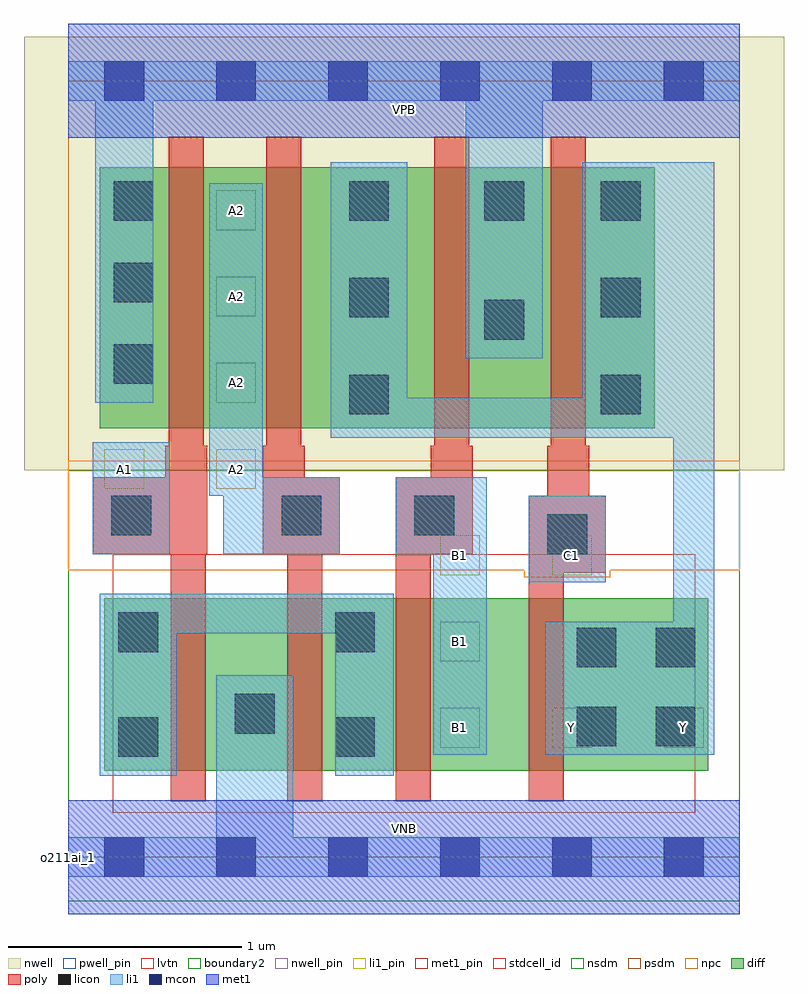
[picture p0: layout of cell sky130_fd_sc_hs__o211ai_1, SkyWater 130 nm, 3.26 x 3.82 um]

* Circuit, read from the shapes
.subckt sky130_fd_sc_hs__o211ai_1 A1 A2 B1 C1 VGND VNB VPB VPWR Y
XM1 VGND A1 n1 VNB sky130_fd_pr__nfet_01v8_lvt w=0.74 l=0.15
XM2 n1 A2 VGND VNB sky130_fd_pr__nfet_01v8_lvt w=0.74 l=0.15
XM3 n2 B1 n1 VNB sky130_fd_pr__nfet_01v8_lvt w=0.74 l=0.15
XM4 Y C1 n2 VNB sky130_fd_pr__nfet_01v8_lvt w=0.74 l=0.15
XM5 n3 A1 VPWR VPB sky130_fd_pr__pfet_01v8 w=1.12 l=0.15
XM6 Y A2 n3 VPB sky130_fd_pr__pfet_01v8 w=1.12 l=0.15
XM7 VPWR B1 Y VPB sky130_fd_pr__pfet_01v8 w=1.12 l=0.15
XM8 Y C1 VPWR VPB sky130_fd_pr__pfet_01v8 w=1.12 l=0.15
.ends

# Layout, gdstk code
import gdstk
lib = gdstk.Library(unit=1e-6, precision=1e-09)
def R(c, l, rs):  # rectangles x0, y0, x1, y1
    for r in rs: c.add(gdstk.rectangle(r[:2], r[2:], *l))
def A(c, l, x, y, w, h, nx, ny, dx, dy):  # array of equal rectangles
    R(c, l, [(x+i*dx, y+j*dy, x+i*dx+w, y+j*dy+h) for i in range(nx) for j in range(ny)])
def P(c, l, *ps):  # polygons
    for p in ps: c.add(gdstk.Polygon(p, *l))
nwell_pin = (64, 16)
nwell = (64, 20)
diff = (65, 20)
poly = (66, 20)
licon = (66, 44)
li1_pin = (67, 16)
li1 = (67, 20)
mcon = (67, 44)
met1_pin = (68, 16)
met1 = (68, 20)
stdcell_id = (81, 4)
nsdm = (93, 44)
psdm = (94, 20)
npc = (95, 20)
pwell_pin = (122, 16)
lvtn = (125, 44)
boundary2 = (236, 0)

sky130_fd_sc_hs__o211ai_ = lib.new_cell('sky130_fd_sc_hs__o211ai_1')
R(sky130_fd_sc_hs__o211ai_, nwell_pin, [(0,3.085,2.88,3.33)])
R(sky130_fd_sc_hs__o211ai_, nwell, [(-0.19,1.66,3.07,3.52)])
R(sky130_fd_sc_hs__o211ai_, diff, [(0.155,0.37,2.745,1.11), (0.135,1.84,2.515,2.96)])
P(sky130_fd_sc_hs__o211ai_, poly, [(2.305,1.55),(2.235,1.55),(2.235,1.765),(2.22,1.765),(2.22,3.09),(2.07,3.09),(2.07,1.765),(2.055,1.765),(2.055,1.55),(1.975,1.55),(1.975,0.24),(2.125,0.24),(2.125,1.22),(2.305,1.22)],
  [(1.735,1.765),(1.72,1.765),(1.72,3.09),(1.57,3.09),(1.57,1.765),(1.555,1.765),(1.555,1.63),(1.405,1.63),(1.405,0.24),(1.555,0.24),(1.555,1.3),(1.735,1.3)],
  [(1.165,1.63),(1.015,1.63),(1.015,1.765),(1,1.765),(1,3.09),(0.85,3.09),(0.85,1.765),(0.835,1.765),(0.835,1.3),(0.94,1.3),(0.94,0.24),(1.09,0.24),(1.09,1.3),(1.165,1.3)],
  [(0.595,1.765),(0.58,1.765),(0.58,3.09),(0.43,3.09),(0.43,1.765),(0.415,1.765),(0.415,1.63),(0.105,1.63),(0.105,1.3),(0.44,1.3),(0.44,0.24),(0.59,0.24),(0.59,1.3),(0.595,1.3)])
A(sky130_fd_sc_hs__o211ai_, licon, 1.205, 1.9, 0.17, 0.17, 1, 3, 0, 0.415)
A(sky130_fd_sc_hs__o211ai_, licon, 2.285, 1.9, 0.17, 0.17, 1, 3, 0, 0.415)
A(sky130_fd_sc_hs__o211ai_, licon, 0.195, 2.03, 0.17, 0.17, 1, 3, 0, 0.35)
R(sky130_fd_sc_hs__o211ai_, licon, [(0.215,0.43,0.385,0.6), (1.145,0.43,1.315,0.6), (2.18,0.475,2.35,0.645), (2.52,0.475,2.69,0.645), (0.715,0.53,0.885,0.7), (2.18,0.815,2.35,0.985), (2.52,0.815,2.69,0.985), (0.215,0.88,0.385,1.05), (1.145,0.88,1.315,1.05), (2.055,1.3,2.225,1.47), (0.185,1.38,0.355,1.55), (0.915,1.38,1.085,1.55), (1.485,1.38,1.655,1.55), (1.785,2.22,1.955,2.39), (1.785,2.73,1.955,2.9)])
A(sky130_fd_sc_hs__o211ai_, li1_pin, 1.595, 0.47, 0.17, 0.17, 3, 1, 0.48, 0)
A(sky130_fd_sc_hs__o211ai_, li1_pin, 0.635, 1.58, 0.17, 0.17, 1, 4, 0, 0.37)
R(sky130_fd_sc_hs__o211ai_, li1_pin, [(1.595,0.84,1.765,1.01), (1.595,1.21,1.765,1.38), (2.075,1.21,2.245,1.38), (0.155,1.58,0.325,1.75)])
R(sky130_fd_sc_hs__o211ai_, li1, [(1.975,1.18,2.305,1.55), (0.105,1.3,0.435,1.78)])
P(sky130_fd_sc_hs__o211ai_, li1, [(0,-0.085),(0,0.085),(0.635,0.085),(0.635,0.78),(0.965,0.78),(0.965,0.085),(2.88,0.085),(2.88,-0.085)],
  [(0,3.245),(0,3.415),(2.88,3.415),(2.88,3.245),(2.035,3.245),(2.035,2.14),(1.705,2.14),(1.705,3.245),(0.365,3.245),(0.365,1.95),(0.115,1.95),(0.115,3.245)],
  [(1.405,1.3),(1.405,1.63),(1.795,1.63),(1.795,0.44),(1.565,0.44),(1.565,1.3)],
  [(2.045,0.44),(2.045,1.01),(2.595,1.01),(2.595,1.8),(1.125,1.8),(1.125,2.98),(1.455,2.98),(1.455,1.97),(2.205,1.97),(2.205,2.98),(2.77,2.98),(2.77,0.44)],
  [(0.665,1.3),(0.665,1.55),(0.605,1.55),(0.605,2.89),(0.835,2.89),(0.835,1.63),(1.165,1.63),(1.165,1.3)],
  [(0.135,0.35),(0.135,1.13),(1.395,1.13),(1.395,0.35),(1.145,0.35),(1.145,0.96),(0.465,0.96),(0.465,0.35)])
A(sky130_fd_sc_hs__o211ai_, mcon, 0.155, -0.085, 0.17, 0.17, 6, 2, 0.48, 3.33)
R(sky130_fd_sc_hs__o211ai_, met1_pin, [(0,0,2.88,0.245), (0,3.085,2.88,3.33)])
R(sky130_fd_sc_hs__o211ai_, met1, [(0,-0.245,2.88,0.245), (0,3.085,2.88,3.575)])
R(sky130_fd_sc_hs__o211ai_, stdcell_id, [(0,0,2.88,3.33)])
R(sky130_fd_sc_hs__o211ai_, nsdm, [(0,-0.19,2.88,1.66)])
R(sky130_fd_sc_hs__o211ai_, psdm, [(0,1.66,2.88,3.52)])
P(sky130_fd_sc_hs__o211ai_, npc, [(2.88,1.7),(0,1.7),(0,1.23),(1.955,1.23),(1.955,1.2),(2.325,1.2),(2.325,1.23),(2.88,1.23)])
R(sky130_fd_sc_hs__o211ai_, pwell_pin, [(0,0,2.88,0.245)])
R(sky130_fd_sc_hs__o211ai_, lvtn, [(0.19,0.19,2.69,1.3)])
R(sky130_fd_sc_hs__o211ai_, boundary2, [(0,0,2.88,3.33)])
sky130_fd_sc_hs__o211ai_.add(gdstk.Label('o211ai_1', (0,0), layer=83, texttype=44))
sky130_fd_sc_hs__o211ai_.add(gdstk.Label('VNB', (1.44,0.123), layer=64, texttype=59))
sky130_fd_sc_hs__o211ai_.add(gdstk.Label('VPB', (1.44,3.208), layer=64, texttype=5))
sky130_fd_sc_hs__o211ai_.add(gdstk.Label('VPWR', (1.44,3.208), layer=68, texttype=5))
sky130_fd_sc_hs__o211ai_.add(gdstk.Label('VGND', (1.44,0.123), layer=68, texttype=5))
sky130_fd_sc_hs__o211ai_.add(gdstk.Label('B1', (1.68,0.555), layer=67, texttype=5))
sky130_fd_sc_hs__o211ai_.add(gdstk.Label('B1', (1.68,0.925), layer=67, texttype=5))
sky130_fd_sc_hs__o211ai_.add(gdstk.Label('B1', (1.68,1.295), layer=67, texttype=5))
sky130_fd_sc_hs__o211ai_.add(gdstk.Label('Y', (2.16,0.555), layer=67, texttype=5))
sky130_fd_sc_hs__o211ai_.add(gdstk.Label('Y', (2.64,0.555), layer=67, texttype=5))
sky130_fd_sc_hs__o211ai_.add(gdstk.Label('C1', (2.16,1.295), layer=67, texttype=5))
sky130_fd_sc_hs__o211ai_.add(gdstk.Label('A2', (0.72,1.665), layer=67, texttype=5))
sky130_fd_sc_hs__o211ai_.add(gdstk.Label('A2', (0.72,2.035), layer=67, texttype=5))
sky130_fd_sc_hs__o211ai_.add(gdstk.Label('A2', (0.72,2.405), layer=67, texttype=5))
sky130_fd_sc_hs__o211ai_.add(gdstk.Label('A2', (0.72,2.775), layer=67, texttype=5))
sky130_fd_sc_hs__o211ai_.add(gdstk.Label('A1', (0.24,1.665), layer=67, texttype=5))

lib.write_gds('sky130_fd_sc_hs__o211ai_1.gds')
